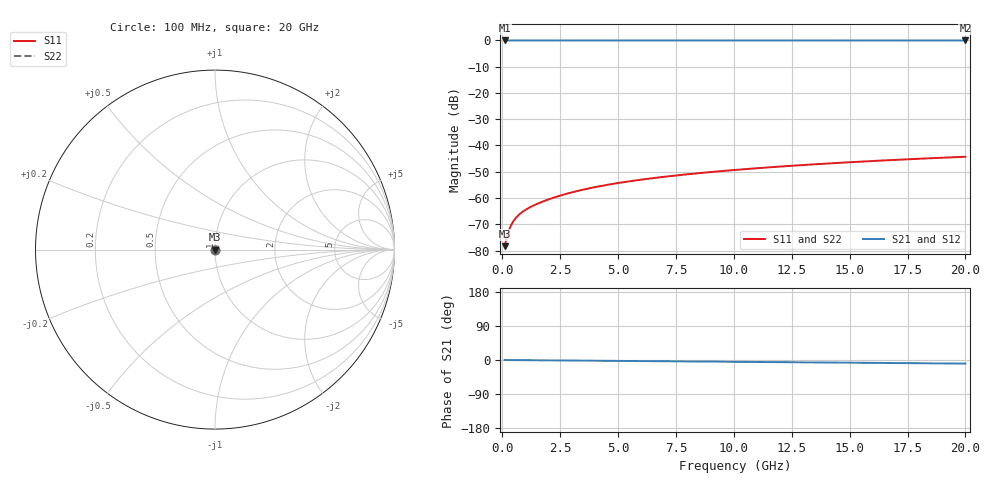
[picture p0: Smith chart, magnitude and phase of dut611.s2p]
! Touchstone file exported from HFSS 2026.1.0
!  File:  C:/ffzhzh/LocalFiles/Ansys_Project_Files/temp_train_TSV_611_1783025682_53980.aedt
!  Generated:  04:56:12 AM Jul  3, 2026
!  Design:  TSV
!  Project:  temp_train_TSV_611_1783025682_53980
! Variables:
!  h_bsmrdl = 2um
!  h_ox = 20um
!  h_rdl = 5um
!  h_sub = 94.28um
!  h_tmrdl = 5um
!  h_tsv = 94.28um
!  h_via = 3um
!  l_bsmrdl = 300um
!  l_sub = 426.52um
!  l_tmrdl = 200um
!  m_sub = 200um
!  pitch = 55.3um
!  r_tsv = 13.26um
!  s_tmrdl = 10um
!  w_bsmrdl = 18um
!  w_sub = 500um
!  w_tmrdl = 12um
!  x_tsv_center1 = 206um
!  x_tsv_center2 = 524um
!  x_tsv_center3 = 736um
!  x_tsv_center4 = 1054um
!  x_tsv_center5 = 1266um
!  x_tsv_center6 = 1584um
# GHz S MA R 50.000000
! Terminal data exported
! Port[1] = TSV1_1_T1
! Port[2] = TSV1_1_T2
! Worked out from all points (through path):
!   200 points, 100 MHz to 20 GHz, reference 50 ohm
!   highest |S21| = 0.00 dB at 100 MHz (marker M1); lowest = 0.0 dB at 20 GHz (marker M2)
!   group delay of S21, straight-line fit = 1.31 ps
!   lowest |S11| = -78.3 dB at 100 MHz (marker M3), VSWR 1.00, Z = 50 + j0.00769 ohm
!   |S11| at or under -10 dB: start of sweep to end of sweep
!   |S22| runs from -78.3 to -44.3 dB; largest |S21 - S12| = 3.4e-15
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0.1  0.0001211 39.4  0.9999 -0.0  0.9999 -0.0  0.0001211 39.4
! Gamma 0 0 0 0
! Port Impedance 50 0 50 0
0.2  0.0001849 54.0  0.9999 -0.1  0.9999 -0.1  0.0001849 54.0
0.3  0.0002521 58.8  0.9999 -0.1  0.9999 -0.1  0.0002521 58.8
0.4  0.0003154 60.3  0.9998 -0.2  0.9998 -0.2  0.0003154 60.3
0.5  0.0003729 60.7  0.9998 -0.2  0.9998 -0.2  0.0003729 60.7
0.6  0.0004248 60.7  0.9998 -0.3  0.9998 -0.3  0.0004248 60.7
0.7  0.0004721 60.6  0.9998 -0.3  0.9998 -0.3  0.0004721 60.6
0.9  0.0005561 60.8  0.9997 -0.4  0.9997 -0.4  0.0005562 60.8
1.1  0.0006317 61.3  0.9997 -0.5  0.9997 -0.5  0.0006317 61.3
1.3  0.0007029 62.0  0.9997 -0.6  0.9997 -0.6  0.0007029 62.0
1.9  0.0009082 64.5  0.9996 -0.9  0.9996 -0.9  0.0009082 64.5
2.6  0.001145 66.7  0.9996 -1.2  0.9996 -1.2  0.001145 66.7
3.5  0.001446 68.4  0.9995 -1.7  0.9995 -1.7  0.001446 68.4
4.2  0.001674 69.2  0.9995 -2.0  0.9995 -2.0  0.001674 69.2
5  0.001928 69.8  0.9994 -2.4  0.9994 -2.4  0.001928 69.8
5.9  0.002207 70.2  0.9994 -2.8  0.9994 -2.8  0.002207 70.2
6.8  0.002478 70.5  0.9993 -3.2  0.9993 -3.2  0.002478 70.5
8.3  0.00292 70.8  0.9992 -3.9  0.9992 -3.9  0.00292 70.8
10.1  0.003438 71.0  0.9991 -4.8  0.9991 -4.8  0.003437 71.0
13.4  0.004362 70.8  0.999 -6.3  0.999 -6.3  0.004362 70.8
16.7  0.005254 70.2  0.9989 -7.9  0.9989 -7.9  0.005254 70.2
20  0.006108 69.3  0.9988 -9.5  0.9988 -9.5  0.006108 69.3
